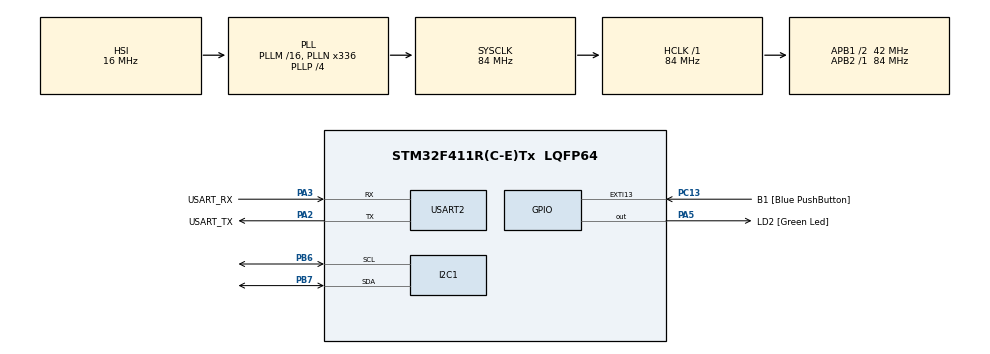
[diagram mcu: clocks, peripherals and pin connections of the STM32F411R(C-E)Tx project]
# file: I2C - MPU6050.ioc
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I2C1.AddressingMode=I2C_ADDRESSINGMODE_7BIT
Mcu.Family=STM32F4
Mcu.Name=STM32F411R(C-E)Tx
Mcu.Package=LQFP64
NVIC.PriorityGroup=NVIC_PRIORITYGROUP_0
NVIC.TIM1_UP_TIM10_IRQn=true\:0\:0\:false\:false\:true\:true\:true\:true
NVIC.USART2_IRQn=true\:0\:0\:false\:false\:true\:true\:true\:true
PA13.GPIO_Label=TMS
PA13.Mode=Serial_Wire
PA13.Signal=SYS_JTMS-SWDIO
PA14.GPIO_Label=TCK
PA14.Mode=Serial_Wire
PA14.Signal=SYS_JTCK-SWCLK
PA2.GPIO_Label=USART_TX
PA2.Mode=Asynchronous
PA2.Signal=USART2_TX
PA3.GPIO_Label=USART_RX
PA3.Mode=Asynchronous
PA3.Signal=USART2_RX
PA5.GPIO_Label=LD2 [Green Led]
PA5.Signal=GPIO_Output
PB3.GPIO_Label=SWO
PB3.Signal=SYS_JTDO-SWO
PB6.GPIO_Pu=GPIO_NOPULL
PB6.Mode=I2C
PB6.Signal=I2C1_SCL
PB7.GPIO_Pu=GPIO_NOPULL
PB7.Mode=I2C
PB7.Signal=I2C1_SDA
PC13-ANTI_TAMP.GPIO_Label=B1 [Blue PushButton]
PC13-ANTI_TAMP.GPIO_ModeDefaultEXTI=GPIO_MODE_IT_FALLING
PC13-ANTI_TAMP.Signal=GPXTI13
PC14-OSC32_IN.Mode=LSE-External-Oscillator
PC14-OSC32_IN.Signal=RCC_OSC32_IN
PC15-OSC32_OUT.Mode=LSE-External-Oscillator
PC15-OSC32_OUT.Signal=RCC_OSC32_OUT
PH0\ -\ OSC_IN.Mode=HSE-External-Clock-Source
PH0\ -\ OSC_IN.Signal=RCC_OSC_IN
PH1\ -\ OSC_OUT.Mode=HSE-External-Clock-Source
PH1\ -\ OSC_OUT.Signal=RCC_OSC_OUT
ProjectManager.HeapSize=0x200
ProjectManager.StackSize=0x400
ProjectManager.TargetToolchain=STM32CubeIDE
RCC.48MHZClocksFreq_Value=84000000
RCC.AHBFreq_Value=84000000
RCC.APB1CLKDivider=RCC_HCLK_DIV2
RCC.APB1Freq_Value=42000000
RCC.APB1TimFreq_Value=84000000
RCC.APB2Freq_Value=84000000
RCC.APB2TimFreq_Value=84000000
RCC.CortexFreq_Value=84000000
RCC.FLatency-AdvancedSettings=FLASH_LATENCY_2
RCC.HCLKFreq_Value=84000000
RCC.HSE_VALUE=8000000
RCC.HSI_VALUE=16000000
RCC.PLLN=336
RCC.PLLP=RCC_PLLP_DIV4
RCC.SYSCLKFreq_VALUE=84000000
RCC.SYSCLKSource=RCC_SYSCLKSOURCE_PLLCLK
RCC.VCOOutputFreq_Value=336000000
TIM10.Period=500-1
TIM10.Prescaler=840-1
USART2.VirtualMode=VM_ASYNC
USART2.WordLength=WORDLENGTH_8B
VP_TIM10_VS_ClockSourceINT.Mode=Enable_Timer
board=NUCLEO-F411RE

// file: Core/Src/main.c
/* USER CODE BEGIN Header */
/**
  ******************************************************************************
  * @file           : main.c
  * @brief          : Main program body
  ******************************************************************************
  * @attention
  *
  * Copyright (c) 2023 STMicroelectronics.
  * All rights reserved.
  *
  * This software is licensed under terms that can be found in the LICENSE file
  * in the root directory of this software component.
  * If no LICENSE file comes with this software, it is provided AS-IS.
  *
  ******************************************************************************
  */
/* USER CODE END Header */
#include "main.h"

/* USER CODE BEGIN Includes */
#include <math.h>
#include <stdio.h>
#include <string.h>
#include <unistd.h>
/* USER CODE END Includes */

/* USER CODE BEGIN PD */
#define NUM_AMOSTRAS 16

#define MPU6050_ADDR 0xD0
#define SMPLRT_DIV_REG 0x19
#define GYRO_CONFIG_REG 0x1B
#define ACCEL_CONFIG_REG 0x1C
#define ACCEL_XOUT_H_REG 0x3B
#define TEMP_OUT_H_REG 0x41
#define GYRO_XOUT_H_REG 0x43
#define PWR_MGMT_1_REG 0x6B
#define WHO_AM_I_REG 0x75

/* USER CODE END PD */

/* USER CODE BEGIN PM */
int16_t Accel_X_RAW = 0.1;
int16_t Accel_Y_RAW = 0.1;
int16_t Accel_Z_RAW = 0.1;

int16_t Gyro_X_RAW = 0.1;
int16_t Gyro_Y_RAW = 0.1;
int16_t Gyro_Z_RAW = 0.1;

int ind = 0;
char msg[50];
float Ax, Ay, Az, Gx, Gy, Gz;
float amostras_ax[NUM_AMOSTRAS];
float amostras_ay[NUM_AMOSTRAS];
float amostras_az[NUM_AMOSTRAS];

/* USER CODE END PM */

I2C_HandleTypeDef hi2c1;

TIM_HandleTypeDef htim10;

UART_HandleTypeDef huart2;

void SystemClock_Config(void);
static void MX_GPIO_Init(void);
static void MX_USART2_UART_Init(void);
static void MX_I2C1_Init(void);
static void MX_TIM10_Init(void);

/* USER CODE BEGIN 0 */

void MPU6050_Init (void)
{
	uint8_t check;
	uint8_t Data;

	// check device ID WHO_AM_I

	HAL_I2C_Mem_Read (&hi2c1, MPU6050_ADDR,WHO_AM_I_REG,1, &check, 1, 1000);

	if (check == 104)  // 0x68 will be returned by the sensor if everything goes well
	{
		// power management register 0X6B we should write all 0's to wake the sensor up
		Data = 0;
		HAL_I2C_Mem_Write(&hi2c1, MPU6050_ADDR, PWR_MGMT_1_REG, 1,&Data, 1, 1000);

		// Set DATA RATE of 1KHz by writing SMPLRT_DIV register
		Data = 0x07;
		HAL_I2C_Mem_Write(&hi2c1, MPU6050_ADDR, SMPLRT_DIV_REG, 1, &Data, 1, 1000);

		// Set accelerometer configuration in ACCEL_CONFIG Register
		// XA_ST=0,YA_ST=0,ZA_ST=0, FS_SEL=0 -> � 2g
		Data = 0x00;
		HAL_I2C_Mem_Write(&hi2c1, MPU6050_ADDR, ACCEL_CONFIG_REG, 1, &Data, 1, 1000);

		// Set Gyroscopic configuration in GYRO_CONFIG Register
		// XG_ST=0,YG_ST=0,ZG_ST=0, FS_SEL=0 -> � 250 �/s
		Data = 0x00;
		HAL_I2C_Mem_Write(&hi2c1, MPU6050_ADDR, GYRO_CONFIG_REG, 1, &Data, 1, 1000);
	}
}

void MPU6050_Read_Accel (void)
{
	uint8_t Rec_Data[6];

	// Read 6 BYTES of data starting from ACCEL_XOUT_H register

	HAL_I2C_Mem_Read (&hi2c1, MPU6050_ADDR, ACCEL_XOUT_H_REG, 1, Rec_Data, 6, 1000);

	Accel_X_RAW = (int16_t)(Rec_Data[0] << 8 | Rec_Data [1]);
	Accel_Y_RAW = (int16_t)(Rec_Data[2] << 8 | Rec_Data [3]);
	Accel_Z_RAW = (int16_t)(Rec_Data[4] << 8 | Rec_Data [5]);

	/*** convert the RAW values into acceleration in 'g'
	     we have to divide according to the Full scale value set in FS_SEL
	     I have configured FS_SEL = 0. So I am dividing by 16384.0
	     for more details check ACCEL_CONFIG Register              ****/

	Ax = Accel_X_RAW/16384.0;
	Ay = Accel_Y_RAW/16384.0;
	Az = Accel_Z_RAW/16384.0;
}

void MPU6050_Read_Gyro (void)
{
	uint8_t Rec_Data[6];

	// Read 6 BYTES of data starting from GYRO_XOUT_H register

	HAL_I2C_Mem_Read (&hi2c1, MPU6050_ADDR, GYRO_XOUT_H_REG, 1, Rec_Data, 6, 1000);

	Gyro_X_RAW = (int16_t)(Rec_Data[0] << 8 | Rec_Data [1]);
	Gyro_Y_RAW = (int16_t)(Rec_Data[2] << 8 | Rec_Data [3]);
	Gyro_Z_RAW = (int16_t)(Rec_Data[4] << 8 | Rec_Data [5]);

	/*** convert the RAW values into dps (�/s)
	     we have to divide according to the Full scale value set in FS_SEL
	     I have configured FS_SEL = 0. So I am dividing by 131.0
	     for more details check GYRO_CONFIG Register              ****/

	Gx = Gyro_X_RAW/131.0;
	Gy = Gyro_Y_RAW/131.0;
	Gz = Gyro_Z_RAW/131.0;
}

/* USER CODE END 0 */

int main(void)
{

  /* MCU Configuration--------------------------------------------------------*/

  /* Reset of all peripherals, Initializes the Flash interface and the Systick. */
  HAL_Init();

  /* Configure the system clock */
  SystemClock_Config();

  /* Initialize all configured peripherals */
  MX_GPIO_Init();
  MX_USART2_UART_Init();
  MX_I2C1_Init();
  MX_TIM10_Init();
  /* USER CODE BEGIN 2 */
  MPU6050_Init();
  HAL_TIM_Base_Start_IT(&htim10);
  /* USER CODE END 2 */

  /* Infinite loop */
  while (1)
  {

    /* USER CODE BEGIN 3 */
		MPU6050_Read_Accel();
		MPU6050_Read_Gyro();
		sprintf(msg,"%.2f;",Ax);
		HAL_UART_Transmit(&huart2,msg,strlen(msg),1);
		sprintf(msg,"%.2f;",Ay);
		HAL_UART_Transmit(&huart2,msg,strlen(msg),1);
		sprintf(msg,"%.2f \n",Az);
		HAL_UART_Transmit(&huart2,msg,strlen(msg),1);
		HAL_Delay(50);
  }
  /* USER CODE END 3 */
}

void SystemClock_Config(void)
{
  RCC_OscInitTypeDef RCC_OscInitStruct = {0};
  RCC_ClkInitTypeDef RCC_ClkInitStruct = {0};

  /** Configure the main internal regulator output voltage
  */
  __HAL_RCC_PWR_CLK_ENABLE();
  __HAL_PWR_VOLTAGESCALING_CONFIG(PWR_REGULATOR_VOLTAGE_SCALE1);

  /** Initializes the RCC Oscillators according to the specified parameters
  * in the RCC_OscInitTypeDef structure.
  */
  RCC_OscInitStruct.OscillatorType = RCC_OSCILLATORTYPE_HSI;
  RCC_OscInitStruct.HSIState = RCC_HSI_ON;
  RCC_OscInitStruct.HSICalibrationValue = RCC_HSICALIBRATION_DEFAULT;
  RCC_OscInitStruct.PLL.PLLState = RCC_PLL_ON;
  RCC_OscInitStruct.PLL.PLLSource = RCC_PLLSOURCE_HSI;
  RCC_OscInitStruct.PLL.PLLM = 16;
  RCC_OscInitStruct.PLL.PLLN = 336;
  RCC_OscInitStruct.PLL.PLLP = RCC_PLLP_DIV4;
  RCC_OscInitStruct.PLL.PLLQ = 4;
  if (HAL_RCC_OscConfig(&RCC_OscInitStruct) != HAL_OK)
  {
    Error_Handler();
  }

  /** Initializes the CPU, AHB and APB buses clocks
  */
  RCC_ClkInitStruct.ClockType = RCC_CLOCKTYPE_HCLK|RCC_CLOCKTYPE_SYSCLK
                              |RCC_CLOCKTYPE_PCLK1|RCC_CLOCKTYPE_PCLK2;
  RCC_ClkInitStruct.SYSCLKSource = RCC_SYSCLKSOURCE_PLLCLK;
  RCC_ClkInitStruct.AHBCLKDivider = RCC_SYSCLK_DIV1;
  RCC_ClkInitStruct.APB1CLKDivider = RCC_HCLK_DIV2;
  RCC_ClkInitStruct.APB2CLKDivider = RCC_HCLK_DIV1;

  if (HAL_RCC_ClockConfig(&RCC_ClkInitStruct, FLASH_LATENCY_2) != HAL_OK)
  {
    Error_Handler();
  }
}

static void MX_I2C1_Init(void)
{

  hi2c1.Instance = I2C1;
  hi2c1.Init.ClockSpeed = 100000;
  hi2c1.Init.DutyCycle = I2C_DUTYCYCLE_2;
  hi2c1.Init.OwnAddress1 = 0;
  hi2c1.Init.AddressingMode = I2C_ADDRESSINGMODE_7BIT;
  hi2c1.Init.DualAddressMode = I2C_DUALADDRESS_DISABLE;
  hi2c1.Init.OwnAddress2 = 0;
  hi2c1.Init.GeneralCallMode = I2C_GENERALCALL_DISABLE;
  hi2c1.Init.NoStretchMode = I2C_NOSTRETCH_DISABLE;
  if (HAL_I2C_Init(&hi2c1) != HAL_OK)
  {
    Error_Handler();
  }

}

static void MX_TIM10_Init(void)
{

  htim10.Instance = TIM10;
  htim10.Init.Prescaler = 840-1;
  htim10.Init.CounterMode = TIM_COUNTERMODE_UP;
  htim10.Init.Period = 500-1;
  htim10.Init.ClockDivision = TIM_CLOCKDIVISION_DIV1;
  htim10.Init.AutoReloadPreload = TIM_AUTORELOAD_PRELOAD_DISABLE;
  if (HAL_TIM_Base_Init(&htim10) != HAL_OK)
  {
    Error_Handler();
  }

}

static void MX_USART2_UART_Init(void)
{

  huart2.Instance = USART2;
  huart2.Init.BaudRate = 115200;
  huart2.Init.WordLength = UART_WORDLENGTH_8B;
  huart2.Init.StopBits = UART_STOPBITS_1;
  huart2.Init.Parity = UART_PARITY_NONE;
  huart2.Init.Mode = UART_MODE_TX_RX;
  huart2.Init.HwFlowCtl = UART_HWCONTROL_NONE;
  huart2.Init.OverSampling = UART_OVERSAMPLING_16;
  if (HAL_UART_Init(&huart2) != HAL_OK)
  {
    Error_Handler();
  }

}

static void MX_GPIO_Init(void)
{
  GPIO_InitTypeDef GPIO_InitStruct = {0};

  /* GPIO Ports Clock Enable */
  __HAL_RCC_GPIOC_CLK_ENABLE();
  __HAL_RCC_GPIOH_CLK_ENABLE();
  __HAL_RCC_GPIOA_CLK_ENABLE();
  __HAL_RCC_GPIOB_CLK_ENABLE();

  /*Configure GPIO pin Output Level */
  HAL_GPIO_WritePin(LD2_GPIO_Port, LD2_Pin, GPIO_PIN_RESET);

  /*Configure GPIO pin : B1_Pin */
  GPIO_InitStruct.Pin = B1_Pin;
  GPIO_InitStruct.Mode = GPIO_MODE_IT_FALLING;
  GPIO_InitStruct.Pull = GPIO_NOPULL;
  HAL_GPIO_Init(B1_GPIO_Port, &GPIO_InitStruct);

  /*Configure GPIO pin : LD2_Pin */
  GPIO_InitStruct.Pin = LD2_Pin;
  GPIO_InitStruct.Mode = GPIO_MODE_OUTPUT_PP;
  GPIO_InitStruct.Pull = GPIO_NOPULL;
  GPIO_InitStruct.Speed = GPIO_SPEED_FREQ_LOW;
  HAL_GPIO_Init(LD2_GPIO_Port, &GPIO_InitStruct);

}

void Error_Handler(void)
{
  __disable_irq();
  while (1)
  {
  }
}
